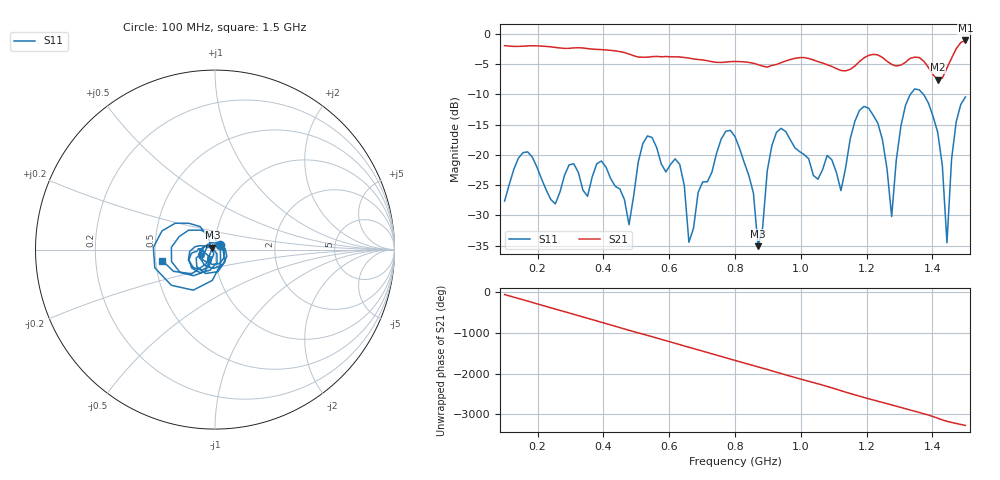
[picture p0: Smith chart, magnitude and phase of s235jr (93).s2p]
! NanoVNA-App
! Date: 2025-09-26 09:45:30
! Start: 100MHz Stop: 1,5GHz Points: 101
! S-Parameter data: F S11 S21 S12 S22
# Hz S RI R 50
!  Frequency  S11_Real  S11_Imag  S21_Real  S21_Imag  S12_Real  S12_Imag  S22_Real  S22_Imag
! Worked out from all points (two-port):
!   101 points, 100 MHz to 1.5 GHz, reference 50 ohm
!   highest |S21| = -1.10 dB at 1.5 GHz (marker M1); lowest = -7.6 dB at 1.416 GHz (marker M2)
!   |S21| within 3 dB of the highest: start of sweep to 668.4 MHz; 1.189 GHz to 1.252 GHz (63.13 MHz wide, 5.17 % of centre)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
!   lowest |S11| = -35.1 dB at 870 MHz (marker M3), VSWR 1.04, Z = 48.6 + j0.967 ohm
!   |S11| at or under -10 dB: start of sweep to 1.333 GHz; 1.373 GHz to end of sweep
!   S12 and S22 are empty: the file has one direction only
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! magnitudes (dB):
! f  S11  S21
! 100 MHz  -27.6  -2.0
! 170 MHz  -19.5  -2.0
! 338 MHz  -25.9  -2.3
! 394 MHz  -21.0  -2.6
! 478 MHz  -31.6  -3.3
! 520 MHz  -18.1  -3.9
! 576 MHz  -21.5  -3.8
! 632 MHz  -21.6  -3.8
! 660 MHz  -34.5  -4.0
! 800 MHz  -17.0  -4.6
! 870 MHz  -35.1  -5.1
! 926 MHz  -16.3  -5.1
! 1.038 GHz  -23.4  -4.3
! 1.122 GHz  -25.9  -6.1
! 1.206 GHz  -12.3  -3.6
! 1.248 GHz  -17.5  -3.9
! 1.276 GHz  -30.2  -5.1
! 1.332 GHz  -10.1  -4.0
! 1.416 GHz  -16.3  -7.6
! 1.444 GHz  -34.5  -5.7
! 1.472 GHz  -14.6  -2.5
! 1.5 GHz  -10.4  -1.1
